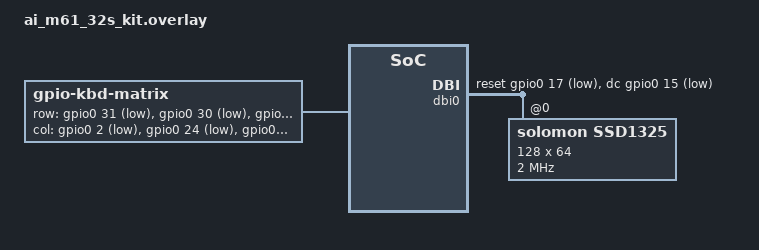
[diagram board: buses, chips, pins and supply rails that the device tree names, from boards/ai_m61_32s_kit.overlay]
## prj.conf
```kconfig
CONFIG_DISPLAY=y
CONFIG_LOG=y
CONFIG_L3=y
CONFIG_ENGINE=y
#CONFIG_LOG_DEFAULT_LEVEL=4
CONFIG_HEAP_MEM_POOL_SIZE=4096
CONFIG_INPUT=y
#CONFIG_MAIN_STACK_SIZE=4096
CONFIG_TIMING_FUNCTIONS=y
CONFIG_SPEED_OPTIMIZATIONS=y
CONFIG_LOG_PERFORMANCE=n
CONFIG_TEST_RANDOM_GENERATOR=y
CONFIG_TIMER_RANDOM_GENERATOR=y
CONFIG_GPIO=y
#CONFIG_MAX_OBJECTS=2048
#CONFIG_LOG_BUFFER_SIZE=8192

#LVGL
CONFIG_LVGL=y
CONFIG_LV_USE_LOG=y
CONFIG_LV_Z_FLUSH_THREAD=n
CONFIG_LV_Z_MEM_POOL_SIZE=4096
CONFIG_LV_FONT_UNSCII_8=y
CONFIG_LV_CONF_MINIMAL=y
CONFIG_LV_USE_LABEL=y
CONFIG_COMPILER_OPT="-Ofast -ffast-math"

# CONFIG_PROFILING=y
# CONFIG_PROFILING_PERF=y
# CONFIG_THREAD_STACK_INFO=y
# CONFIG_SMP=n
# CONFIG_SHELL=y
# CONFIG_FRAME_POINTER=y
# CONFIG_PROFILING_PERF_BUFFER_SIZE=32768
```

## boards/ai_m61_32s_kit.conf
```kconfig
CONFIG_TARGET_PROCESS_FPS=30
CONFIG_TARGET_RENDER_FPS=15
CONFIG_RESOLUTION_X=128
CONFIG_RESOLUTION_Y=64
CONFIG_SSD1327_DEFAULT_CONTRAST=160
CONFIG_SSD1327_CONV_BUFFER_LINES=64
CONFIG_SSD1325_DEFAULT_CONTRAST=160
CONFIG_SSD1325_CONV_BUFFER_LINES=64
CONFIG_LV_DEF_REFR_PERIOD=5
CONFIG_ISR_STACK_SIZE=8192
CONFIG_MAIN_STACK_SIZE=8192
CONFIG_BLIT_THREAD_STACK=8192
CONFIG_RENDER_THREAD_STACK=8192
CONFIG_PROCESS_THREAD_STACK=8192
CONFIG_LOG_BUFFER_SIZE=4096
CONFIG_COMPILER_OPT="-Ofast -ffast-math -funroll-loops -finline-functions -falign-functions=4 -falign-jumps=4 -falign-loops=4 -mbranch-cost=256 -march=unset -march=rv32imafc_zicsr_zifencei_xtheadba_xtheadbb_xtheadbs"
```

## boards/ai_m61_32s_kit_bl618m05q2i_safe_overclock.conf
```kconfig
CONFIG_TARGET_PROCESS_FPS=30
CONFIG_TARGET_RENDER_FPS=23
CONFIG_RESOLUTION_X=128
CONFIG_RESOLUTION_Y=64
CONFIG_SSD1327_DEFAULT_CONTRAST=160
CONFIG_SSD1327_CONV_BUFFER_LINES=64
CONFIG_SSD1325_DEFAULT_CONTRAST=160
CONFIG_SSD1325_CONV_BUFFER_LINES=64
CONFIG_LV_DEF_REFR_PERIOD=5
CONFIG_ISR_STACK_SIZE=8192
CONFIG_MAIN_STACK_SIZE=8192
CONFIG_BLIT_THREAD_STACK=8192
CONFIG_RENDER_THREAD_STACK=8192
CONFIG_PROCESS_THREAD_STACK=8192
CONFIG_LOG_BUFFER_SIZE=4096
# xtheadcondmov reduces performance
# xtheadfmemidx has no visible effect
# xtheadmac slightly reduces performance
# xtheadfmv has no visible effect
# xtheadmemidx reduces performance
CONFIG_COMPILER_OPT="-Ofast -ffast-math -funroll-loops -finline-functions -falign-functions=4 -falign-jumps=4 -falign-loops=4 -march=unset -march=rv32imafc_zicsr_zifencei_xtheadba_xtheadbb_xtheadbs -fpeel-loops"
```

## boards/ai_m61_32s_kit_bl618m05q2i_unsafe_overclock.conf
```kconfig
CONFIG_TARGET_PROCESS_FPS=35
CONFIG_TARGET_RENDER_FPS=26
CONFIG_RESOLUTION_X=128
CONFIG_RESOLUTION_Y=64
CONFIG_SSD1327_DEFAULT_CONTRAST=160
CONFIG_SSD1327_CONV_BUFFER_LINES=64
CONFIG_SSD1325_DEFAULT_CONTRAST=160
CONFIG_SSD1325_CONV_BUFFER_LINES=64
CONFIG_LV_DEF_REFR_PERIOD=5
CONFIG_ISR_STACK_SIZE=8192
CONFIG_MAIN_STACK_SIZE=8192
CONFIG_BLIT_THREAD_STACK=8192
CONFIG_RENDER_THREAD_STACK=8192
CONFIG_PROCESS_THREAD_STACK=8192
CONFIG_LOG_BUFFER_SIZE=4096
CONFIG_COMPILER_OPT="-Ofast -ffast-math -funroll-loops -finline-functions -falign-functions=4 -falign-jumps=4 -falign-loops=4 -mbranch-cost=256 -march=unset -march=rv32imafc_zicsr_zifencei_xtheadba_xtheadbb_xtheadbs"
```

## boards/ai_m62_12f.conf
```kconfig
CONFIG_TARGET_PROCESS_FPS=25
CONFIG_TARGET_RENDER_FPS=30
CONFIG_RESOLUTION_X=128
CONFIG_RESOLUTION_Y=64
```

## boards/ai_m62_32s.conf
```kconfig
CONFIG_TARGET_PROCESS_FPS=25
CONFIG_TARGET_RENDER_FPS=25
CONFIG_RESOLUTION_X=128
CONFIG_RESOLUTION_Y=64
```

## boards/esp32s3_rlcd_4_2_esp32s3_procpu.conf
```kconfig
CONFIG_TARGET_PROCESS_FPS=30
CONFIG_TARGET_RENDER_FPS=5
CONFIG_RESOLUTION_X=78
CONFIG_RESOLUTION_Y=100
CONFIG_LV_DEF_REFR_PERIOD=5
CONFIG_ISR_STACK_SIZE=8192
CONFIG_MAIN_STACK_SIZE=8192
CONFIG_BLIT_THREAD_STACK=8192
CONFIG_RENDER_THREAD_STACK=8192
CONFIG_PROCESS_THREAD_STACK=8192
CONFIG_LOG_BUFFER_SIZE=4096
CONFIG_COMPILER_OPT="-Ofast -ffast-math -funroll-loops -finline-functions"
CONFIG_ST730X_CONV_BUFFER_LINE_CNT=400
```

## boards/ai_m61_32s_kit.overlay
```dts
#include <zephyr/dt-bindings/input/keymap.h>

/* Use 80 MHz Flash clock*/
&clk_flash {
	read-delay = <1>;
	divider = <1>;
};

&pinctrl {
	dbi0_default: dbi0_default {
		group1 {
			pinmux = <GPIO12_DBI_C_SCL>,
				 <GPIO14_DBI_C_SDA>;
			drive-strength = <1>;
			input-schmitt-enable;
			bias-pull-down;
		};
	};
};


&dbi0 {
	status = "okay";

	cs-gpios = <&gpio0 16 GPIO_ACTIVE_LOW>;
	dc-gpios = <&gpio0 15 GPIO_ACTIVE_LOW>;
	reset-gpios = <&gpio0 17 GPIO_ACTIVE_LOW>;
	#address-cells = <1>;
	#size-cells = <0>;

	// display: ssd1327@0 {
	// 	compatible = "solomon,ssd1327";
	// 	mipi-max-frequency = <21000000>;
	// 	reg = <0>;
	// 	width = <128>;
	// 	height = <64>;
	// 	prechargep = <0x5>;
	// 	precharge-voltage = <0x7>;
	// 	remap-value = <0x53>;
	// 	oscillator-freq = <0xA1>;
	// 	display-offset = <0x40>;
	// 	start-line = <0>;
	// 	multiplex-ratio = <0x3f>;
	// 	phase-length = <0x29>;
	// 	mipi-mode = "MIPI_DBI_MODE_SPI_4WIRE";
	// 	grayscale-table = [04 06 08 0A 0C 0D 10 12 14 16 18 1C 20 24 3C];
	// };

	ssd1325: ssd1325@0 {
		compatible = "solomon,ssd1325";
		mipi-max-frequency = <2000000>;
		reg = <0>;
		width = <128>;
		height = <64>;
		prechargep = <0x0>;
		precharge-voltage = <0x10>;
		remap-value = <0x52>;
		oscillator-freq = <0x91>;
		display-offset = <0x4c>;
		start-line = <0>;
		multiplex-ratio = <0x3f>;
		phase-length = <0x22>;
		vcomh-voltage = <0x2>;
		mipi-mode = "MIPI_DBI_MODE_SPI_4WIRE";
		grayscale-table = [ 01 01 01 02 02 02 03 03 04 04 05 05 06 06 07 ];
	};

	dmas = <&dma0 0 0x14>;
	dma-names = "tx";
	pinctrl-names = "default";
	pinctrl-0 = <&dbi0_default>;
};

&spi0 {
	status = "disabled";
};


// &i2c0 {
// 	status = "okay";
// 	
// 	clock-frequency = <I2C_BITRATE_FAST_PLUS>;
// 
// 	display: ssd1306@3c {
// 		compatible = "sinowealth,sh1106";
// 		reg = <0x3c>;
// 		width = <128>;
// 		height = <64>;
// 		segment-offset = <0>;
// 		page-offset = <0>;
// 		display-offset = <0>;
// 		multiplex-ratio = <63>;
// 		segment-remap;
// 		com-invdir;
// 		prechargep = <0x22>;
// 	};	
// };

// &i2c0 {
// 	status = "okay";
// 	
// 	clock-frequency = <I2C_BITRATE_FAST_PLUS>;
// 
// 	display: ssd1309@3c {
// 		compatible = "solomon,ssd1309fb";
// 		reg = <0x3c>;
// 		width = <128>;
// 		height = <64>;
// 		segment-offset = <0>;
// 		page-offset = <0>;
// 		display-offset = <0>;
// 		multiplex-ratio = <63>;
// 		segment-remap;
// 		com-invdir;
// 		prechargep = <0x22>;
// 	};	
// };


/ {
	chosen {
		zephyr,display = &display;
	};
};

&gpio0 {
	status = "okay";
};

/ {
	kbd-matrix {
		compatible = "gpio-kbd-matrix";
		row-gpios = <&gpio0 31 (GPIO_PULL_UP | GPIO_ACTIVE_LOW)>,
					<&gpio0 30 (GPIO_PULL_UP | GPIO_ACTIVE_LOW)>,
					<&gpio0 25 (GPIO_PULL_UP | GPIO_ACTIVE_LOW)>,
					<&gpio0 27 (GPIO_PULL_UP | GPIO_ACTIVE_LOW)>,
					<&gpio0 29 (GPIO_PULL_UP | GPIO_ACTIVE_LOW)>;
		col-gpios = <&gpio0 2 GPIO_ACTIVE_LOW>,
					<&gpio0 24 GPIO_ACTIVE_LOW>,
					<&gpio0 28 GPIO_ACTIVE_LOW>,
					<&gpio0 26 GPIO_ACTIVE_LOW>;
		keymap {
			compatible = "input-keymap";
			keymap = <
				MATRIX_KEY(3, 1, INPUT_KEY_W)
				MATRIX_KEY(4, 1, INPUT_KEY_S)
				MATRIX_KEY(4, 0, INPUT_KEY_A)
				MATRIX_KEY(4, 2, INPUT_KEY_D)
				MATRIX_KEY(3, 0, INPUT_KEY_LEFT)
				MATRIX_KEY(3, 2, INPUT_KEY_RIGHT)
				MATRIX_KEY(1, 3, INPUT_KEY_UP)
				MATRIX_KEY(2, 3, INPUT_KEY_DOWN)
				MATRIX_KEY(3, 3, INPUT_KEY_LEFTSHIFT)
				MATRIX_KEY(4, 3, INPUT_KEY_SPACE)
			>;
			row-size = <5>;
			col-size = <4>;
		};
	};
};
```

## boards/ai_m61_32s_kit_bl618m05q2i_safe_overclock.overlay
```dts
#include <zephyr/dt-bindings/input/keymap.h>

&pinctrl {
	spi0_default: spi0_default {
		group1 {
			pinmux = <GPIO11_SPI_MOSI>, <GPIO13_SPI_SCLK>;
			drive-strength = <1>;
			input-schmitt-enable;
		};
	};
};

/ {

	mipi_dbi_ssd1327 {
		compatible = "zephyr,mipi-dbi-spi";
		spi-dev = <&spi0>;
		dc-gpios = <&gpio0 15 GPIO_ACTIVE_HIGH>;
		reset-gpios = <&gpio0 17 GPIO_ACTIVE_LOW>;
		write-only;
		#address-cells = <1>;
		#size-cells = <0>;

		display: ssd1327@0 {
			compatible = "solomon,ssd1327";
			mipi-max-frequency = <20000000>;
			reg = <0>;
			width = <128>;
			height = <64>;
			prechargep = <0x5>;
			precharge-voltage = <0x7>;
			remap-value = <0x53>;
			oscillator-freq = <0xA1>;
			display-offset = <0x40>;
			start-line = <0>;
			multiplex-ratio = <0x3f>;
			phase-length = <0x29>;
			mipi-mode = "MIPI_DBI_MODE_SPI_4WIRE";
			grayscale-table = [04 06 08 0A 0C 0D 10 12 14 16 18 1C 20 24 3C];
		};
	};
};

&spi0 {
	status = "okay";
	cs-gpios = <&gpio0 16 GPIO_ACTIVE_LOW>;

	pinctrl-0 = <&spi0_default>;
	pinctrl-names = "default";
};

// &i2c0 {
// 	status = "okay";
//
// 	clock-frequency = <I2C_BITRATE_FAST_PLUS>;
//
// 	display: ssd1306@3c {
// 		compatible = "sinowealth,sh1106";
// 		reg = <0x3c>;
// 		width = <128>;
// 		height = <64>;
// 		segment-offset = <0>;
// 		page-offset = <0>;
// 		display-offset = <0>;
// 		multiplex-ratio = <63>;
// 		segment-remap;
// 		com-invdir;
// 		prechargep = <0x22>;
// 	};
// };

// &i2c0 {
// 	status = "okay";
//
// 	clock-frequency = <I2C_BITRATE_FAST_PLUS>;
//
// 	display: ssd1309@3c {
// 		compatible = "solomon,ssd1309fb";
// 		reg = <0x3c>;
// 		width = <128>;
// 		height = <64>;
// 		segment-offset = <0>;
// 		page-offset = <0>;
// 		display-offset = <0>;
// 		multiplex-ratio = <63>;
// 		segment-remap;
// 		com-invdir;
// 		prechargep = <0x22>;
// 	};
// };


/ {
	chosen {
		zephyr,display = &display;
	};
};

&gpio0 {
	status = "okay";
};

/ {
	kbd-matrix {
		compatible = "gpio-kbd-matrix";
		row-gpios = <&gpio0 31 (GPIO_PULL_UP | GPIO_ACTIVE_LOW)>,
					<&gpio0 30 (GPIO_PULL_UP | GPIO_ACTIVE_LOW)>,
					<&gpio0 25 (GPIO_PULL_UP | GPIO_ACTIVE_LOW)>,
					<&gpio0 27 (GPIO_PULL_UP | GPIO_ACTIVE_LOW)>,
					<&gpio0 29 (GPIO_PULL_UP | GPIO_ACTIVE_LOW)>;
		col-gpios = <&gpio0 2 GPIO_ACTIVE_LOW>,
					<&gpio0 24 GPIO_ACTIVE_LOW>,
					<&gpio0 28 GPIO_ACTIVE_LOW>,
					<&gpio0 26 GPIO_ACTIVE_LOW>;
		keymap {
			compatible = "input-keymap";
			keymap = <
				MATRIX_KEY(3, 1, INPUT_KEY_W)
				MATRIX_KEY(4, 1, INPUT_KEY_S)
				MATRIX_KEY(4, 0, INPUT_KEY_A)
				MATRIX_KEY(4, 2, INPUT_KEY_D)
				MATRIX_KEY(3, 0, INPUT_KEY_LEFT)
				MATRIX_KEY(3, 2, INPUT_KEY_RIGHT)
				MATRIX_KEY(1, 3, INPUT_KEY_UP)
				MATRIX_KEY(2, 3, INPUT_KEY_DOWN)
				MATRIX_KEY(3, 3, INPUT_KEY_LEFTSHIFT)
				MATRIX_KEY(4, 3, INPUT_KEY_SPACE)
			>;
			row-size = <5>;
			col-size = <4>;
		};
	};
};


&clk_aupll {
	/* Increased PLL top output frequency to 640MHz */
	top-frequency = <DT_FREQ_M(480)>;
};

&clk_wifipll {
	top-frequency = <BL61X_WIFIPLL_TOP_FREQ>;
};

&flash0 {

};

&clk_flash {
	clocks = <&clk_wifipll BL61X_WIFIPLL_ID_DIV1>;
	read-delay = <1>;
	/delete-property/ rx-clock-invert;
};
```

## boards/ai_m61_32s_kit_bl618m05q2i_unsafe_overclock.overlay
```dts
#include <zephyr/dt-bindings/input/keymap.h>

&pinctrl {
	spi0_default: spi0_default {
		group1 {
			pinmux = <GPIO11_SPI_MOSI>, <GPIO13_SPI_SCLK>;
			drive-strength = <1>;
			input-schmitt-enable;
		};
	};
};

/ {

	mipi_dbi_ssd1327 {
		compatible = "zephyr,mipi-dbi-spi";
		spi-dev = <&spi0>;
		dc-gpios = <&gpio0 15 GPIO_ACTIVE_HIGH>;
		reset-gpios = <&gpio0 17 GPIO_ACTIVE_LOW>;
		write-only;
		#address-cells = <1>;
		#size-cells = <0>;

		display: ssd1327@0 {
			compatible = "solomon,ssd1327";
/* 21 MHz because at 640MHz PLL is a bit unstable and causes desync when clock domain crosses from XCLK domain (SPI  <= 20MHz) and PLL domain (SPI > 20MHz using PLL divider) */
			mipi-max-frequency = <21000000>;
			reg = <0>;
			width = <128>;
			height = <64>;
			prechargep = <0x5>;
			precharge-voltage = <0x7>;
			remap-value = <0x53>;
			oscillator-freq = <0xA1>;
			display-offset = <0x40>;
			start-line = <0>;
			multiplex-ratio = <0x3f>;
			phase-length = <0x29>;
			mipi-mode = "MIPI_DBI_MODE_SPI_4WIRE";
			grayscale-table = [04 06 08 0A 0C 0D 10 12 14 16 18 1C 20 24 3C];
		};

		// display: ssd1325@0 {
		// 	compatible = "solomon,ssd1325";
		// 	mipi-max-frequency = <20000000>;
		// 	reg = <0>;
		// 	width = <128>;
		// 	height = <64>;
		// 	prechargep = <0x0>;
		// 	precharge-voltage = <0x10>;
		// 	remap-value = <0x50>;
		// 	oscillator-freq = <0x91>;
		// 	display-offset = <0x4c>;
		// 	start-line = <0>;
		// 	multiplex-ratio = <0x3f>;
		// 	phase-length = <0x22>;
		// 	vcomh-voltage = <0x2>;
		// 	mipi-mode = "MIPI_DBI_MODE_SPI_4WIRE";
		// 	grayscale-table = [ 02 02 02 02 02 02 02 02 03 04 05 06 07 07 07 ];
		// };
	};
};

&spi0 {
	status = "okay";
	cs-gpios = <&gpio0 16 GPIO_ACTIVE_LOW>;

	pinctrl-0 = <&spi0_default>;
	pinctrl-names = "default";
};

// &i2c0 {
// 	status = "okay";
//
// 	clock-frequency = <I2C_BITRATE_FAST_PLUS>;
//
// 	display: ssd1306@3c {
// 		compatible = "sinowealth,sh1106";
// 		reg = <0x3c>;
// 		width = <128>;
// 		height = <64>;
// 		segment-offset = <0>;
// 		page-offset = <0>;
// 		display-offset = <0>;
// 		multiplex-ratio = <63>;
// 		segment-remap;
// 		com-invdir;
// 		prechargep = <0x22>;
// 	};
// };

// &i2c0 {
// 	status = "okay";
//
// 	clock-frequency = <I2C_BITRATE_FAST_PLUS>;
//
// 	display: ssd1309@3c {
// 		compatible = "solomon,ssd1309fb";
// 		reg = <0x3c>;
// 		width = <128>;
// 		height = <64>;
// 		segment-offset = <0>;
// 		page-offset = <0>;
// 		display-offset = <0>;
// 		multiplex-ratio = <63>;
// 		segment-remap;
// 		com-invdir;
// 		prechargep = <0x22>;
// 	};
// };


/ {
	chosen {
		zephyr,display = &display;
	};
};

&gpio0 {
	status = "okay";
};

/ {
	kbd-matrix {
		compatible = "gpio-kbd-matrix";
		row-gpios = <&gpio0 31 (GPIO_PULL_UP | GPIO_ACTIVE_LOW)>,
					<&gpio0 30 (GPIO_PULL_UP | GPIO_ACTIVE_LOW)>,
					<&gpio0 25 (GPIO_PULL_UP | GPIO_ACTIVE_LOW)>,
					<&gpio0 27 (GPIO_PULL_UP | GPIO_ACTIVE_LOW)>,
					<&gpio0 29 (GPIO_PULL_UP | GPIO_ACTIVE_LOW)>;
		col-gpios = <&gpio0 2 GPIO_ACTIVE_LOW>,
					<&gpio0 24 GPIO_ACTIVE_LOW>,
					<&gpio0 28 GPIO_ACTIVE_LOW>,
					<&gpio0 26 GPIO_ACTIVE_LOW>;
		keymap {
			compatible = "input-keymap";
			keymap = <
				MATRIX_KEY(3, 1, INPUT_KEY_W)
				MATRIX_KEY(4, 1, INPUT_KEY_S)
				MATRIX_KEY(4, 0, INPUT_KEY_A)
				MATRIX_KEY(4, 2, INPUT_KEY_D)
				MATRIX_KEY(3, 0, INPUT_KEY_LEFT)
				MATRIX_KEY(3, 2, INPUT_KEY_RIGHT)
				MATRIX_KEY(1, 3, INPUT_KEY_UP)
				MATRIX_KEY(2, 3, INPUT_KEY_DOWN)
				MATRIX_KEY(3, 3, INPUT_KEY_LEFTSHIFT)
				MATRIX_KEY(4, 3, INPUT_KEY_SPACE)
			>;
			row-size = <5>;
			col-size = <4>;
		};
	};
};

&clk_aupll {
	/* Increased PLL top output frequency to 640MHz */
	top-frequency = <DT_FREQ_M(640)>;
};

// &reg_soc {
// 	/* SoC LDO at 1.25v to handle 640MHz FCLK*/
// 	regulator-init-microvolt = <1350000>;
// };
//
// &flash0 {
// 	/delete-property/ rx-clock-invert;
// };
//
// &clk_flash {
// 	clocks = <&clk_bclk>;
// 	read-delay = <1>;
// 	divider = <1>;
// };
//
// &clk_bclk {
// 	divider = <7>;
// };

&clk_wifipll {
	top-frequency = <BL61X_WIFIPLL_TOP_FREQ>;
};
```

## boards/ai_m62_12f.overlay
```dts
#include <zephyr/dt-bindings/input/keymap.h>

&clk_bclk {
	divider = <4>;
};

&clk_root {
	clocks = <&clk_wifipll BL61X_WIFIPLL_OC_480MHz>;
};

&clk_flash {
		clocks = <&clk_bclk>;
		// clock-invert;
		read-delay = <1>;
		divider = <1>;
		//rx-clock-invert;
};

#include <dt-bindings/pinctrl/bl616x-pinctrl.h>
#include <zephyr/dt-bindings/i2c/i2c.h>
#include <zephyr/dt-bindings/spi/spi.h>
/*
&pinctrl {
	i2c0_default: i2c0_default {
		group1 {
			pinmux = <GPIO14_I2C0_SCL>, <GPIO15_I2C0_SDA>;
			drive-strength = <2>;
			input-schmitt-enable;
		};
	};
};

&i2c0 {
	ssd1327: ssd1327@3c {
		compatible = "solomon,ssd1327fb";
		reg = <0x3c>;
		width = <128>;
		height = <96>;
		prechargep = <0xf>;
		remap-value = <0x53>;
		oscillator-freq = <0x92>;
		display-offset = <0x20>;
		start-line = <0>;
		multiplex-ratio = <0x05f>;
		phase-length = <0x1f>;
		status="okay";
	};
	status = "okay";

	pinctrl-0 = <&i2c0_default>;
	pinctrl-names = "default";
	clock-frequency = <I2C_BITRATE_FAST_PLUS>;
};
*/

&pinctrl {
	spi0_default: spi0_default {
		group1 {
			pinmux = <GPIO11_SPI_MOSI>, <GPIO14_SPI_MISO>, <GPIO13_SPI_SCLK>, <GPIO20_SPI_SS>;
			drive-strength = <1>;
			input-schmitt-enable;
		};
	};
};

/ {

	mipi_dbi_ssd1327 {
		compatible = "zephyr,mipi-dbi-spi";
		spi-dev = <&spi0>;
		dc-gpios = <&gpio0 15 GPIO_ACTIVE_HIGH>;
		reset-gpios = <&gpio0 1 GPIO_ACTIVE_LOW>;
		write-only;
		#address-cells = <1>;
		#size-cells = <0>;

		ssd1327: ssd1327@0 {
			compatible = "solomon,ssd1327fb";
			mipi-max-frequency = <30000000>;
			reg = <0>;
			width = <128>;
			height = <64>;
			prechargep = <0x5>;
			precharge-voltage = <0x7>;
			remap-value = <0x53>;
			oscillator-freq = <0xA1>;
			display-offset = <0x40>;
			start-line = <0>;
			multiplex-ratio = <0x3f>;
			phase-length = <0x29>;
			mipi-mode = "MIPI_DBI_MODE_SPI_4WIRE";
			grayscale-table = [04 06 08 0A 0C 0D 10 12 14 16 18 1C 20 24 3C];
		};
	};
};
/*
/ {

	mipi_dbi_ssd1363 {
		compatible = "zephyr,mipi-dbi-spi";
		spi-dev = <&spi0>;
		dc-gpios = <&gpio0 15 GPIO_ACTIVE_HIGH>;
		reset-gpios = <&gpio0 1 GPIO_ACTIVE_LOW>;
		write-only;
		#address-cells = <1>;
		#size-cells = <0>;

		ssd1363: ssd1363@0 {
			compatible = "solomon,ssd1363";
			mipi-max-frequency = <40000000>;
			compatible = "solomon,ssd1363";
			reg = <0>;
			width = <256>;
			height = <128>;
			precharge-period = <0x8>;
			remap-value = <0x3200>;
			oscillator-freq = <0x61>;
			display-offset = <0x20>;
			column-offset = <32>;
			start-line = <0>;
			multiplex-ratio = <127>;
			phase-length = <0x74>;
			precharge-voltage = <0x7>;
			grayscale-enhancement;
			grayscale-table = [02 04 05 06 07 08 09 0C 10 12 14 16 1E 24 2A];
			#inversion-on;
			//precharge-config = <0x2>;
			mipi-mode = "MIPI_DBI_MODE_SPI_4WIRE";
		};
	};
};
*/
&spi0 {
	status = "okay";
	//cs-gpios = <&gpio0 20 GPIO_ACTIVE_LOW>;

	pinctrl-0 = <&spi0_default>;
	pinctrl-names = "default";
};


/ {
	chosen {
		zephyr,display = &ssd1327;
	};
};
&gpio0 {
	status = "okay";
};

/ {
	kbd-matrix {
		compatible = "gpio-kbd-matrix";
		row-gpios = <&gpio0 31 (GPIO_PULL_UP | GPIO_ACTIVE_LOW)>,
					<&gpio0 30 (GPIO_PULL_UP | GPIO_ACTIVE_LOW)>,
					<&gpio0 25 (GPIO_PULL_UP | GPIO_ACTIVE_LOW)>,
					<&gpio0 27 (GPIO_PULL_UP | GPIO_ACTIVE_LOW)>,
					<&gpio0 29 (GPIO_PULL_UP | GPIO_ACTIVE_LOW)>;
		col-gpios = <&gpio0 2 GPIO_ACTIVE_LOW>,
					<&gpio0 24 GPIO_ACTIVE_LOW>,
					<&gpio0 28 GPIO_ACTIVE_LOW>,
					<&gpio0 26 GPIO_ACTIVE_LOW>;
		keymap {
			compatible = "input-keymap";
			keymap = <
				MATRIX_KEY(3, 1, INPUT_KEY_W)
				MATRIX_KEY(4, 1, INPUT_KEY_S)
				MATRIX_KEY(4, 0, INPUT_KEY_A)
				MATRIX_KEY(4, 2, INPUT_KEY_D)
				MATRIX_KEY(3, 0, INPUT_KEY_LEFT)
				MATRIX_KEY(3, 2, INPUT_KEY_RIGHT)
				MATRIX_KEY(1, 3, INPUT_KEY_UP)
				MATRIX_KEY(2, 3, INPUT_KEY_DOWN)
				MATRIX_KEY(4, 3, INPUT_KEY_SPACE)
			>;
			row-size = <5>;
			col-size = <4>;
		};
	};
};
```

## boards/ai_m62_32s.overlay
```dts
#include <zephyr/dt-bindings/input/keymap.h>

&clk_bclk {
	divider = <4>;
};

&clk_root {
	clocks = <&clk_wifipll BL61X_WIFIPLL_OC_480MHz>;
};

&clk_flash {
		clocks = <&clk_bclk>;
		// clock-invert;
		read-delay = <1>;
		divider = <1>;
		//rx-clock-invert;
};

#include <dt-bindings/pinctrl/bl616x-pinctrl.h>
#include <zephyr/dt-bindings/i2c/i2c.h>
#include <zephyr/dt-bindings/spi/spi.h>
/*
&pinctrl {
	i2c0_default: i2c0_default {
		group1 {
			pinmux = <GPIO14_I2C0_SCL>, <GPIO15_I2C0_SDA>;
			drive-strength = <2>;
			input-schmitt-enable;
		};
	};
};

&i2c0 {
	ssd1327: ssd1327@3c {
		compatible = "solomon,ssd1327fb";
		reg = <0x3c>;
		width = <128>;
		height = <96>;
		prechargep = <0xf>;
		remap-value = <0x53>;
		oscillator-freq = <0x92>;
		display-offset = <0x20>;
		start-line = <0>;
		multiplex-ratio = <0x05f>;
		phase-length = <0x1f>;
		status="okay";
	};
	status = "okay";

	pinctrl-0 = <&i2c0_default>;
	pinctrl-names = "default";
	clock-frequency = <I2C_BITRATE_FAST_PLUS>;
};
*/

&pinctrl {
	spi0_default: spi0_default {
		group1 {
			pinmux = <GPIO11_SPI_MOSI>, <GPIO14_SPI_MISO>, <GPIO13_SPI_SCLK>;
			drive-strength = <1>;
			input-schmitt-enable;
		};
	};
};

/ {

	mipi_dbi_ssd1327 {
		compatible = "zephyr,mipi-dbi-spi";
		spi-dev = <&spi0>;
		dc-gpios = <&gpio0 15 GPIO_ACTIVE_HIGH>;
		reset-gpios = <&gpio0 1 GPIO_ACTIVE_LOW>;
		write-only;
		#address-cells = <1>;
		#size-cells = <0>;

		ssd1327: ssd1327@0 {
			compatible = "solomon,ssd1327fb";
			mipi-max-frequency = <30000000>;
			reg = <0>;
			width = <128>;
			height = <64>;
			prechargep = <0x5>;
			precharge-voltage = <0x7>;
			remap-value = <0x53>;
			oscillator-freq = <0xA1>;
			display-offset = <0x40>;
			start-line = <0>;
			multiplex-ratio = <0x3f>;
			phase-length = <0x29>;
			mipi-mode = "MIPI_DBI_MODE_SPI_4WIRE";
			greyscale-table = [04 06 08 0A 0C 0D 10 12 14 16 18 1C 20 24 3C];
		};
	};
};

&spi0 {
	status = "okay";
	cs-gpios = <&gpio0 20 GPIO_ACTIVE_LOW>;

	pinctrl-0 = <&spi0_default>;
	pinctrl-names = "default";
};


/ {
	chosen {
		zephyr,display = &ssd1327;
	};
};
&gpio0 {
	status = "okay";
};

/ {
	kbd-matrix {
		compatible = "gpio-kbd-matrix";
		row-gpios = <&gpio0 31 (GPIO_PULL_UP | GPIO_ACTIVE_LOW)>,
					<&gpio0 30 (GPIO_PULL_UP | GPIO_ACTIVE_LOW)>,
					<&gpio0 25 (GPIO_PULL_UP | GPIO_ACTIVE_LOW)>,
					<&gpio0 27 (GPIO_PULL_UP | GPIO_ACTIVE_LOW)>,
					<&gpio0 29 (GPIO_PULL_UP | GPIO_ACTIVE_LOW)>;
		col-gpios = <&gpio0 2 GPIO_ACTIVE_LOW>,
					<&gpio0 24 GPIO_ACTIVE_LOW>,
					<&gpio0 28 GPIO_ACTIVE_LOW>,
					<&gpio0 26 GPIO_ACTIVE_LOW>;
		keymap {
			compatible = "input-keymap";
			keymap = <
				MATRIX_KEY(3, 1, INPUT_KEY_W)
				MATRIX_KEY(4, 1, INPUT_KEY_S)
				MATRIX_KEY(4, 0, INPUT_KEY_A)
				MATRIX_KEY(4, 2, INPUT_KEY_D)
				MATRIX_KEY(3, 0, INPUT_KEY_LEFT)
				MATRIX_KEY(3, 2, INPUT_KEY_RIGHT)
				MATRIX_KEY(1, 3, INPUT_KEY_UP)
				MATRIX_KEY(2, 3, INPUT_KEY_DOWN)
				MATRIX_KEY(4, 3, INPUT_KEY_SPACE)
			>;
			row-size = <5>;
			col-size = <4>;
		};
	};
};
```

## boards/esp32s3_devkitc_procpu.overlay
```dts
#include <zephyr/dt-bindings/input/keymap.h>
#include <zephyr/dt-bindings/spi/spi.h>


/ {
	chosen {
		zephyr,display = &ssd1327;
	};

};

/ {

	mipi_dbi_ssd1327 {
		compatible = "zephyr,mipi-dbi-spi";
		spi-dev = <&spi2>;
		dc-gpios = <&gpio0 9 GPIO_ACTIVE_HIGH>;
		reset-gpios = <&gpio1 14 GPIO_ACTIVE_LOW>;
		write-only;
		#address-cells = <1>;
		#size-cells = <0>;

		ssd1327: ssd1327@0 {
			compatible = "solomon,ssd1327fb";
			mipi-max-frequency = <20000000>;
			reg = <0>;
			width = <128>;
			height = <64>;
			prechargep = <0x5>;
			precharge-voltage = <0x7>;
			remap-value = <0x53>;
			oscillator-freq = <0xA1>;
			display-offset = <0x40>;
			start-line = <0>;
			multiplex-ratio = <0x3f>;
			phase-length = <0x29>;
			mipi-mode = "MIPI_DBI_MODE_SPI_4WIRE";
			grayscale-table = [04 06 08 0A 0C 0D 10 12 14 16 18 1C 20 24 3C];
		};
	};
};

&spi2 {
	status = "okay";
};


&i2c0 {
	status = "disabled";
};

&i2c1 {
	status = "disabled";
};

&i2s0 {
	status = "disabled";
};

&i2s1 {
	status = "disabled";
};

&spi3 {
	status = "disabled";
};

&twai {
	status = "disabled";
};

/ {
	kbd-matrix {
		compatible = "gpio-kbd-matrix";
		row-gpios = <&gpio0 8 (GPIO_PULL_UP | GPIO_ACTIVE_LOW)>,
					<&gpio0 18 (GPIO_PULL_UP | GPIO_ACTIVE_LOW)>,
					<&gpio0 17 (GPIO_PULL_UP | GPIO_ACTIVE_LOW)>,
					<&gpio0 16 (GPIO_PULL_UP | GPIO_ACTIVE_LOW)>,
					<&gpio0 15 (GPIO_PULL_UP | GPIO_ACTIVE_LOW)>;
		col-gpios = <&gpio0 4 GPIO_ACTIVE_LOW>,
					<&gpio0 5 GPIO_ACTIVE_LOW>,
					<&gpio0 6 GPIO_ACTIVE_LOW>,
					<&gpio0 7 GPIO_ACTIVE_LOW>;
		keymap {
			compatible = "input-keymap";
			keymap = <
				MATRIX_KEY(3, 1, INPUT_KEY_W)
				MATRIX_KEY(4, 1, INPUT_KEY_S)
				MATRIX_KEY(4, 0, INPUT_KEY_A)
				MATRIX_KEY(4, 2, INPUT_KEY_D)
				MATRIX_KEY(3, 0, INPUT_KEY_LEFT)
				MATRIX_KEY(3, 2, INPUT_KEY_RIGHT)
				MATRIX_KEY(1, 3, INPUT_KEY_UP)
				MATRIX_KEY(2, 3, INPUT_KEY_DOWN)
				MATRIX_KEY(3, 3, INPUT_KEY_LEFTSHIFT)
				MATRIX_KEY(4, 3, INPUT_KEY_SPACE)
			>;
			row-size = <5>;
			col-size = <4>;
		};
	};
};
```

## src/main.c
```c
#include <zephyr/kernel.h>
#include <zephyr/device.h>
#include <zephyr/drivers/display.h>
#include <zephyr/input/input.h>
#include <zephyr/timing/timing.h>
#include <stdio.h>
#include <stdlib.h>
#include <zephyr/random/random.h>
#include <zephyr/sys/util.h>
#include <math.h>

#include <lvgl.h>

#include <zephyr/logging/log.h>
LOG_MODULE_REGISTER(main);

#define ENGINE_BLIT_FUNCTION blit_display

#include "engine.h"
#include "utility.h"
#include "logo_scene.h"

#include "map.h"

#include "filters.h"

#include "skybox/h2s_bk.h"
#include "skybox/h2s_dn.h"
#include "skybox/h2s_ft.h"
#include "skybox/h2s_lf.h"
#include "skybox/h2s_rt.h"
#include "skybox/h2s_up.h"

static timing_t bench_start_time;
static uint32_t bench_frames;
static lv_obj_t *bench_passed;
float engine_rFPS_avg;
int last_t = -1;
bool animate = true;

#define BAR_LEN 20


static const struct device *display_device = DEVICE_DT_GET(DT_CHOSEN(zephyr_display));

int blit_display_MONO(L3_COLORTYPE *buffer, uint16_t x, uint16_t y, uint16_t size_x, uint16_t size_y)
{
	struct display_buffer_descriptor buf_desc;
	uint8_t buf[128] = {0};
	
	if (size_y < 8 || (y & 0x7) != 0 || (size_y & 0x7) != 0) {
		LOG_ERR("Bad position or size");
	}
	
	buf_desc.buf_size = size_x;
	buf_desc.width = size_x;
	buf_desc.height = 8;
	buf_desc.pitch = size_x;

	for (int j = 0; j < size_y; j+= 8) {
		for (int i = 0; i < size_x; i++) {
			buf[i] = buffer[i + (j + 0) * size_x] > 128 ? buf[i] | 1<<0 : buf[i] & ~(1<<0);
			buf[i] = buffer[i + (j + 1) * size_x] > 128 ? buf[i] | 1<<1 : buf[i] & ~(1<<1);
			buf[i] = buffer[i + (j + 2) * size_x] > 128 ? buf[i] | 1<<2 : buf[i] & ~(1<<2);
			buf[i] = buffer[i + (j + 3) * size_x] > 128 ? buf[i] | 1<<3 : buf[i] & ~(1<<3);
			buf[i] = buffer[i + (j + 4) * size_x] > 128 ? buf[i] | 1<<4 : buf[i] & ~(1<<4);
			buf[i] = buffer[i + (j + 5) * size_x] > 128 ? buf[i] | 1<<5 : buf[i] & ~(1<<5);
			buf[i] = buffer[i + (j + 6) * size_x] > 128 ? buf[i] | 1<<6 : buf[i] & ~(1<<6);
			buf[i] = buffer[i + (j + 7) * size_x] > 128 ? buf[i] | 1<<7 : buf[i] & ~(1<<7);
		}
		display_write(display_device, x, j, &buf_desc, buf);
	}

	return 0;
}

int blit_display_MONO_dither(L3_COLORTYPE *buffer, uint16_t x, uint16_t y, uint16_t size_x, uint16_t size_y)
{
	struct display_buffer_descriptor buf_desc;
	uint8_t buf[128] = {0};
	int error = 0;
	
	if (size_y < 8 || (y & 0x7) != 0 || (size_y & 0x7) != 0) {
		LOG_ERR("Bad position or size");
	}
	
	buf_desc.buf_size = size_x;
	buf_desc.width = size_x;
	buf_desc.height = 8;
	buf_desc.pitch = size_x;

#define ERR_THRE 255
#define ERR_MUL 2
	
	for (int j = 0; j < size_y; j+= 8) {
		for (int i = 0; i < size_x; i++) {
			error += buffer[i + (j + 0) * size_x];
			if (error > ERR_THRE) {
				buf[i] |= 1 << 0;
				error -= ERR_THRE * ERR_MUL;
			} else {
				buf[i] &= ~(1<<0);
			}
			error += buffer[i + (j + 1) * size_x];
			if (error > ERR_THRE) {
				buf[i] |= 1 << 1;
				error -= ERR_THRE * ERR_MUL;
			} else {
				buf[i] &= ~(1<<1);
			}
			error += buffer[i + (j + 2) * size_x];
			if (error > ERR_THRE) {
				buf[i] |= 1 << 2;
				error -= ERR_THRE * ERR_MUL;
			} else {
				buf[i] &= ~(1<<2);
			}
			error += buffer[i + (j + 3) * size_x];
			if (error > ERR_THRE) {
				buf[i] |= 1 << 3;
				error -= ERR_THRE * ERR_MUL;
			} else {
				buf[i] &= ~(1<<3);
			}
			error += buffer[i + (j + 4) * size_x];
			if (error > ERR_THRE) {
				buf[i] |= 1 << 4;
				error -= ERR_THRE * ERR_MUL;
			} else {
				buf[i] &= ~(1<<4);
			}
			error += buffer[i + (j + 5) * size_x];
			if (error > ERR_THRE) {
				buf[i] |= 1 << 5;
				error -= ERR_THRE * ERR_MUL;
			} else {
				buf[i] &= ~(1<<5);
			}
			error += buffer[i + (j + 6) * size_x];
			if (error > ERR_THRE) {
				buf[i] |= 1 << 6;
				error -= ERR_THRE * ERR_MUL;
			} else {
				buf[i] &= ~(1<<6);
			}
			error += buffer[i + (j + 7) * size_x];
			if (error > ERR_THRE) {
				buf[i] |= 1 << 7;
				error -= ERR_THRE * ERR_MUL;
			} else {
				buf[i] &= ~(1<<7);
			}
			/* buf[i] = buffer[i + (j + 0) * size_x] > 85 ? buf[i] | 1<<0 : buf[i] & ~(1<<0);
			buf[i] = buffer[i + (j + 0) * size_x] > 170 ? buf[i] | 1<<1 : buf[i] & ~(1<<1);
			buf[i] = buffer[i + (j + 1) * size_x] > 85 ? buf[i] | 1<<2 : buf[i] & ~(1<<2);
			buf[i] = buffer[i + (j + 1) * size_x] > 170 ? buf[i] | 1<<3 : buf[i] & ~(1<<3);
			buf[i] = buffer[i + (j + 2) * size_x] > 85 ? buf[i] | 1<<4 : buf[i] & ~(1<<4);
			buf[i] = buffer[i + (j + 2) * size_x] > 170 ? buf[i] | 1<<5 : buf[i] & ~(1<<5);
			buf[i] = buffer[i + (j + 3) * size_x] > 85 ? buf[i] | 1<<6 : buf[i] & ~(1<<6);
			buf[i] = buffer[i + (j + 3) * size_x] > 170 ? buf[i] | 1<<7 : buf[i] & ~(1<<7); */
		}
		display_write(display_device, x, j, &buf_desc, buf);
	}

	return 0;
}

int blit_display(L3_COLORTYPE *buffer, uint16_t x, uint16_t y, uint16_t size_x, uint16_t size_y)
{
	return blit_select_for_me(buffer, x, y, size_x, size_y);
}

typedef struct {
	L3_Unit vx;
	L3_Unit vy;
	L3_Unit z;
	L3_Unit x;
	L3_Unit speedmul;
	L3_Unit jump;
	L3_Unit xrot;
} Controls;

static Engine_Object* player = 0;

static Controls controls = {0};

static void process() {
	if (player != 0) {
		player->visual.transform.rotation.y += controls.vy;
		player->visual.transform.rotation.x += controls.vx;
		if (player->visual.transform.rotation.y > L3_F/2) player->visual.transform.rotation.y = -L3_F/2;
		if (player->visual.transform.rotation.y < -L3_F/2) player->visual.transform.rotation.y = L3_F/2;
		if (player->visual.transform.rotation.x > L3_F/2) player->visual.transform.rotation.x = -L3_F/2;
		if (player->visual.transform.rotation.x < -L3_F/2) player->visual.transform.rotation.x = L3_F/2;

		L3_Vec4 forward = {0, 0, L3_F, L3_F};
		L3_Vec4 left = {-L3_F, 0, 0, L3_F};
		L3_Mat4 transMat;

		L3_makeRotationMatrixZXY(player->visual.transform.rotation.x,
							player->visual.transform.rotation.y,
							0,
							transMat);

		L3_vec3Xmat4(&forward, transMat);
		L3_vec3Xmat4(&left, transMat);

		player->visual.transform.translation.x += controls.z * forward.x / L3_F;
		player->visual.transform.translation.y += controls.z * forward.y / L3_F;
		player->visual.transform.translation.z += controls.z * forward.z / L3_F;
		player->visual.transform.translation.x += controls.x * left.x / L3_F;
		player->visual.transform.translation.y += controls.x * left.y / L3_F;
		player->visual.transform.translation.z += controls.x * left.z / L3_F;

		L3_Camera *camera = engine_getcamera();
		camera->transform = player->visual.transform;
	}
}

static void update_controls(struct input_event *evt, void *user_data)
{
	Controls *cont = user_data;

	if (animate) {
		printf("Benchmark interrupted.\n");
		animate = false;
	}

	if (evt->code == INPUT_KEY_UP) {
		if (evt->value)
			cont->vx = 5;
		else
			cont->vx = 0;
	} else if (evt->code == INPUT_KEY_DOWN) {
		if (evt->value)
			cont->vx = -5;
		else
			cont->vx = 0;
	}
	if (evt->code == INPUT_KEY_LEFT) {
		if (evt->value)
			cont->vy = 15;
		else
			cont->vy = 0;
	} else if (evt->code == INPUT_KEY_RIGHT) {
		if (evt->value)
			cont->vy = -15;
		else
			cont->vy = 0;
	}
	if (evt->code == INPUT_KEY_W) {
		if (evt->value)
			cont->z = E_SPEED(3*L3_F*cont->speedmul);
		else
			cont->z = 0;
	} else if (evt->code == INPUT_KEY_S) {
		if (evt->value)
			cont->z = -E_SPEED(3*L3_F*cont->speedmul);
		else
			cont->z = 0;
	}

	if (evt->code == INPUT_KEY_A) {
		if (evt->value)
			cont->x = E_SPEED(3*L3_F*cont->speedmul);
		else
			cont->x = 0;
	} else if (evt->code == INPUT_KEY_D) {
		if (evt->value)
			cont->x = -E_SPEED(3*L3_F*cont->speedmul);
		else
			cont->x = 0;
	}

	if (evt->code == INPUT_KEY_LEFTSHIFT) {
		if (evt->value)
			cont->speedmul = 8;
		else
			cont->speedmul = 1;
	}
}

INPUT_CALLBACK_DEFINE(0, update_controls, &controls);

#define CAM_ANIM_0(i, _) {.type = 2, .transform = {.translation = {.x = 0, .y = 0, .z = 0}, .rotation = {0}, .scale = {0}}}
#define CAM_ANIM_1(i, _) {.type = 2, .transform = {.translation = {.x = 0, .y = 0, .z = 128}, .rotation = {0}, .scale = {0}}}
#define CAM_ANIM_2(i, _) {.type = 2, .transform = {.translation = {.x = 0, .y = 32, .z = 0}, .rotation = {.x = -1, .y = 4, .z = 0}, .scale = {0}}}
#define CAM_ANIM_3(i, _) {.type = 2, .transform = {.translation = {.x = 0, .y = 0, .z = -128}, .rotation = {0}, .scale = {0}}}
#define CAM_ANIM_4(i, _) {.type = 2, .transform = {.translation = {.x = 0, .y = -32, .z = 0}, .rotation = {.x = 1, .y = 2, .z = 0}, .scale = {0}}}
#define CAM_ANIM_5(i, _) {.type = 2, .transform = {.translation = {.x = 16, .y = 0, .z = 0}, .rotation = {0}, .scale = {0}}}

const ObjectProcess_FrameArray_Frame camera_animation_impl_frames[] = {
	LISTIFY(50, CAM_ANIM_0, (,)),
	LISTIFY(300, CAM_ANIM_1, (,)),
	LISTIFY(64, CAM_ANIM_2, (,)),
	LISTIFY(70, CAM_ANIM_3, (,)),
	LISTIFY(64, CAM_ANIM_4, (,)),
	LISTIFY(200, CAM_ANIM_5, (,)),
};

const ObjectProcess_FrameArray camera_animation_impl = {
	.len = ARRAY_SIZE(camera_animation_impl_frames),
	.loop = false,
	.frames = camera_animation_impl_frames,
};

Engine_Object *camera_animation_objects[1];

Animation camera_animation = ANIMATION_INIT(
	camera_animation_objects,
	(void*[]) {(void*)&camera_animation_impl},
	(AnimationObjectProcess[]) {utility_animation_objectprocess_framearray},
	1, 30,
	ARRAY_SIZE(camera_animation_impl_frames),
	false
);

void scene_init(Engine_Scene *self)
{
	Engine_Object tmp = {0};
	L3_transform3DSet(0 * L3_F,1.5*L3_F,-20*L3_F,0,0,0,L3_F,L3_F,L3_F,&(tmp.visual.transform));
	tmp.view_range = 16 * L3_F;
	tmp.visual_type = ENGINE_VISUAL_NOTHING;
	player = engine_add_object(tmp);
	camera_animation_objects[0] = player;

	L3_Camera *camera = engine_getcamera();
	camera->focalLength = 288;
}

void print_progress_bar(size_t value, size_t min, size_t max, size_t len)
{
	size_t t = ((value - min) * len) / max;

	printf("\e[1A[");
	for (int i = 0; i < len; i++) {
		if (t >= i) {
			printf("=");
		} else {
			printf(" ");
		}
	}
	printf("]\n");
}

void scene_pf(Engine_Scene *self)
{
	int t = (camera_animation.frame_counter * BAR_LEN) / ARRAY_SIZE(camera_animation_impl_frames);

	if (animate) {
		if (!camera_animation.started)
		{
			bench_frames = 0;
			bench_start_time = timing_counter_get();
		}
		if (camera_animation.finished) {
			timing_t bench_end_time = timing_counter_get();
			uint32_t total_time_us = timing_cycles_to_ns(timing_cycles_get(&bench_start_time, &bench_end_time)) / 1000;
			float avg_fps = (1000000 * bench_frames) / total_time_us;
			camera_animation.finished = false;
			camera_animation.started = false;

			#if defined(CONFIG_FPU)
				printf("Average Frame/Second: %f\n", (double)avg_fps);
				printf("Average Render Frame/Second (RFPS): %f\n", (double)engine_rFPS_avg);
			#else
				printf("Average Frame/Second: %d\n", (int)avg_fps);
				printf("Average Render Frame/Second (RFPS): %d\n", (int)engine_rFPS_avg);
			#endif
			if (avg_fps >= CONFIG_TARGET_RENDER_FPS) {
				lv_label_set_text_fmt(bench_passed, "PASS");
				#if defined(CONFIG_FPU)
					printf("\e[0;32m%f >= %u, passed\e[0m\n\n", (double)avg_fps, CONFIG_TARGET_RENDER_FPS);
				#else
					printf("\e[0;32m%d >= %u, passed\e[0m\n\n", (int)avg_fps, CONFIG_TARGET_RENDER_FPS);
				#endif
			} else {
				lv_label_set_text_fmt(bench_passed, "FAIL");
				#if defined(CONFIG_FPU)
					printf("\e[0;31m%f < %u, failed\e[0m\n\n", (double)avg_fps, CONFIG_TARGET_RENDER_FPS);
				#else
					printf("\e[0;31m%d < %u, failed\e[0m\n\n", (int)avg_fps, CONFIG_TARGET_RENDER_FPS);
				#endif
			}
			L3_transform3DSet(0 * L3_F,1.5*L3_F,-20*L3_F,0,0,0,L3_F,L3_F,L3_F, &player->visual.transform);
		} else {
			if (bench_frames > 0) {
				engine_rFPS_avg = (engine_rFPS_avg * (bench_frames - 1) + engine_rFPS) / bench_frames;
			}
			if (t != last_t) {
				print_progress_bar(camera_animation.frame_counter, 0, ARRAY_SIZE(camera_animation_impl_frames), BAR_LEN);
				last_t = t;
			}
			utility_animation_process(&camera_animation);
		}
	}
}

Engine_Scene scene = {0};

static Filter_f default_scene_filters[] = {
	filter_fixgap,
};

L3_Skybox skybox = {
	.faces.front = &h2s_ft,
	.faces.back = &h2s_bk,
	.faces.left = &h2s_lf,
	.faces.right = &h2s_rt,
	.faces.top = &h2s_up,
	.faces.bottom = &h2s_dn,
};


int engine_render_hook_post(void) {
	bench_frames++;
	return 0;
}

int main()
{

	for (int i = 0; i < DT_ZEPHYR_DISPLAYS_COUNT; i++) {
		if (!device_is_ready(engine_display_devices[i])) {
			LOG_ERR("Display device %d is not ready", i);
			return -ENODEV;
		}
	}

	timing_init();
	timing_start();

	k_msleep(100);
	display_blanking_on(display_device);
	display_blanking_off(display_device);

	init_engine(&process);

	scene.inf = scene_init;
	scene.pf = scene_pf;
	scene.statics = map;
	scene.statics_count = sizeof(map) / sizeof(*map);
	scene.filters_count = ARRAY_SIZE(default_scene_filters),
	scene.filters = default_scene_filters,
	scene.skybox = &skybox;

	engine_switchscene(&logo_scene);
	k_msleep(2000);

	bench_passed = lv_label_create(lv_screen_active());
	lv_label_set_text_fmt(bench_passed, "");
	lv_obj_align(bench_passed, LV_ALIGN_TOP_LEFT, CONFIG_RESOLUTION_X - 4*4, L3_RESOLUTION_Y - 4);

	engine_switchscene(&scene);
	engine_statics_enabled(true);

	controls.speedmul = 1;

	printf("Benching...\n\n");

	return 0;
}
```
